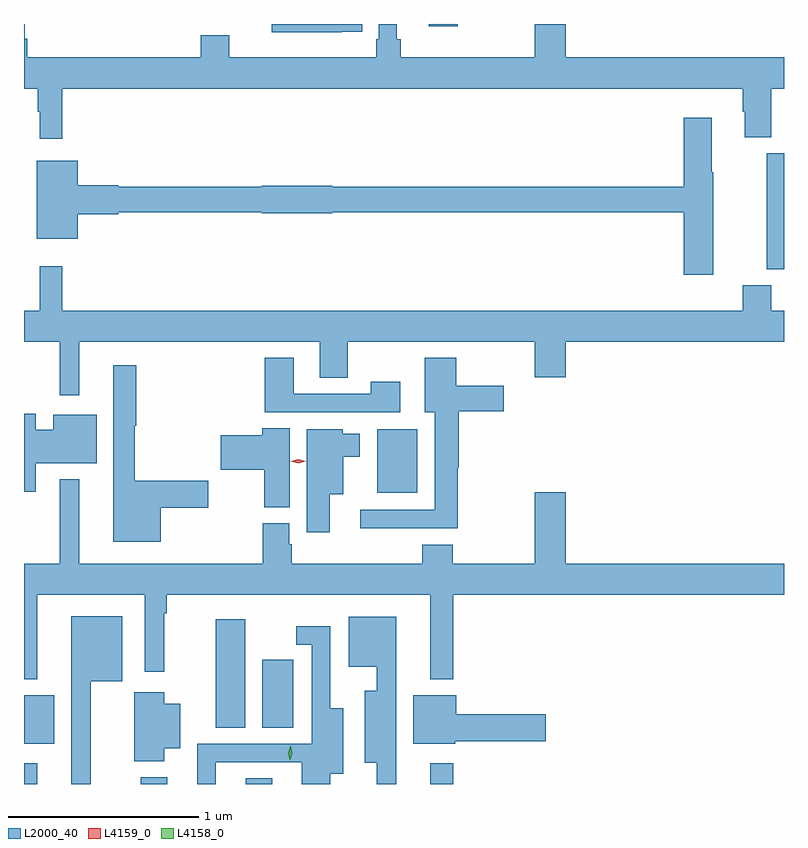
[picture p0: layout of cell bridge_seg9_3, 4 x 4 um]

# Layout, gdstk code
import gdstk
lib = gdstk.Library(unit=1e-6, precision=1e-09)
def R(c, l, rs):  # rectangles x0, y0, x1, y1
    for r in rs: c.add(gdstk.rectangle(r[:2], r[2:], *l))
def P(c, l, *ps):  # polygons
    for p in ps: c.add(gdstk.Polygon(p, *l))
L2000_40 = (2000, 40)
L4158_0 = (4158, 0)
L4159_0 = (4159, 0)

bridge_seg9_3 = lib.new_cell('bridge_seg9_3')
R(bridge_seg9_3, L2000_40, [(1049.433,1232.72,1049.503,1232.83), (1050.047,1232.72,1050.187,1232.755), (1050.599,1232.72,1050.739,1232.75), (1051.571,1232.72,1051.693,1232.83), (1049.433,1232.933,1049.593,1233.187), (1050.443,1233.016,1050.598,1233.586), (1050.686,1233.016,1050.85,1233.373), (1051.292,1234.253,1051.504,1234.588), (1053.342,1235.43,1053.433,1236.039), (1051.562,1236.708,1051.716,1236.72)])
P(bridge_seg9_3, L2000_40, [(1051.106,1236.678),(1051.214,1236.678),(1051.214,1236.72),(1050.738,1236.72),(1050.738,1236.677),(1051.106,1236.677)],
  [(1049.633,1236.38),(1053.215,1236.38),(1053.215,1236.258),(1053.227,1236.258),(1053.227,1236.124),(1053.367,1236.124),(1053.367,1236.38),(1053.433,1236.38),(1053.433,1236.544),(1052.284,1236.544),(1052.284,1236.72),(1052.12,1236.72),(1052.12,1236.544),(1051.415,1236.544),(1051.415,1236.64),(1051.396,1236.64),(1051.396,1236.72),(1051.299,1236.72),(1051.299,1236.64),(1051.286,1236.64),(1051.286,1236.544),(1050.514,1236.544),(1050.514,1236.661),(1050.362,1236.661),(1050.362,1236.544),(1049.45,1236.544),(1049.45,1236.642),(1049.437,1236.642),(1049.437,1236.72),(1049.433,1236.72),(1049.433,1236.38),(1049.505,1236.38),(1049.505,1236.257),(1049.516,1236.257),(1049.516,1236.117),(1049.633,1236.117)],
  [(1053.06,1235.941),(1053.052,1235.941),(1053.052,1236.226),(1052.906,1236.226),(1052.906,1235.864),(1051.056,1235.864),(1051.056,1235.87),(1050.684,1235.87),(1050.684,1235.864),(1049.928,1235.864),(1049.928,1235.872),(1049.716,1235.872),(1049.716,1236.001),(1049.501,1236.001),(1049.501,1235.591),(1049.716,1235.591),(1049.716,1235.72),(1049.928,1235.72),(1049.928,1235.728),(1050.684,1235.728),(1050.684,1235.723),(1051.056,1235.723),(1051.056,1235.728),(1052.906,1235.728),(1052.906,1235.4),(1053.06,1235.4)],
  [(1049.725,1235.048),(1050.989,1235.048),(1050.989,1234.858),(1051.137,1234.858),(1051.137,1235.048),(1052.12,1235.048),(1052.12,1234.86),(1052.284,1234.86),(1052.284,1235.048),(1053.433,1235.048),(1053.433,1235.212),(1053.367,1235.212),(1053.367,1235.345),(1053.215,1235.345),(1053.215,1235.212),(1049.633,1235.212),(1049.633,1235.446),(1049.516,1235.446),(1049.516,1235.212),(1049.433,1235.212),(1049.433,1235.048),(1049.621,1235.048),(1049.621,1234.767),(1049.725,1234.767)],
  [(1051.716,1234.385),(1051.721,1234.385),(1051.721,1234.682),(1051.957,1234.682),(1051.957,1234.816),(1051.708,1234.816),(1051.708,1234.963),(1051.541,1234.963),(1051.541,1234.676),(1051.595,1234.676),(1051.595,1234.164),(1051.203,1234.164),(1051.203,1234.067),(1051.716,1234.067)],
  [(1051.414,1234.837),(1051.258,1234.837),(1051.258,1234.773),(1050.853,1234.773),(1050.853,1234.963),(1050.701,1234.963),(1050.701,1234.677),(1051.414,1234.677)],
  [(1050.154,1234.174),(1050.403,1234.174),(1050.403,1234.316),(1050.017,1234.316),(1050.017,1234.605),(1050.025,1234.605),(1050.025,1234.924),(1049.903,1234.924),(1049.903,1233.995),(1050.154,1233.995)],
  [(1049.494,1234.409),(1049.815,1234.409),(1049.815,1234.663),(1049.588,1234.663),(1049.588,1234.585),(1049.494,1234.585),(1049.494,1234.669),(1049.433,1234.669),(1049.433,1234.259),(1049.494,1234.259)],
  [(1050.832,1234.592),(1050.686,1234.592),(1050.686,1234.556),(1050.468,1234.556),(1050.468,1234.373),(1050.698,1234.373),(1050.698,1234.177),(1050.832,1234.177)],
  [(1051.042,1234.244),(1051.114,1234.244),(1051.114,1234.442),(1051.201,1234.442),(1051.201,1234.564),(1051.11,1234.564),(1051.11,1234.588),(1050.92,1234.588),(1050.92,1234.044),(1051.042,1234.044)],
  [(1049.503,1233.716),(1050.069,1233.716),(1050.069,1233.312),(1050.17,1233.312),(1050.17,1233.62),(1050.185,1233.62),(1050.185,1233.716),(1051.571,1233.716),(1051.571,1233.272),(1051.693,1233.272),(1051.693,1233.716),(1053.433,1233.716),(1053.433,1233.88),(1052.284,1233.88),(1052.284,1234.255),(1052.12,1234.255),(1052.12,1233.88),(1051.689,1233.88),(1051.689,1233.979),(1051.529,1233.979),(1051.529,1233.88),(1050.842,1233.88),(1050.842,1233.981),(1050.829,1233.981),(1050.829,1234.092),(1050.689,1234.092),(1050.689,1233.88),(1049.725,1233.88),(1049.725,1234.324),(1049.621,1234.324),(1049.621,1233.88),(1049.433,1233.88),(1049.433,1233.272),(1049.503,1233.272)],
  [(1049.785,1233.26),(1049.95,1233.26),(1049.95,1233.604),(1049.681,1233.604),(1049.681,1232.72),(1049.785,1232.72)],
  [(1051.393,1233.601),(1051.142,1233.601),(1051.142,1233.338),(1051.289,1233.338),(1051.289,1233.211),(1051.226,1233.211),(1051.226,1232.831),(1051.289,1232.831),(1051.289,1232.72),(1051.393,1232.72)],
  [(1050.442,1232.835),(1050.896,1232.835),(1050.896,1232.72),(1051.045,1232.72),(1051.045,1232.774),(1051.114,1232.774),(1051.114,1233.118),(1051.044,1233.118),(1051.044,1233.55),(1050.867,1233.55),(1050.867,1233.453),(1050.948,1233.453),(1050.948,1232.931),(1050.344,1232.931),(1050.344,1232.72),(1050.442,1232.72)],
  [(1050.172,1232.909),(1050.256,1232.909),(1050.256,1233.142),(1050.172,1233.142),(1050.172,1233.202),(1050.014,1233.202),(1050.014,1232.841),(1050.172,1232.841)],
  [(1051.704,1232.944),(1052.179,1232.944),(1052.179,1233.086),(1051.708,1233.086),(1051.708,1233.187),(1051.481,1233.187),(1051.481,1232.933),(1051.704,1232.933)])
P(bridge_seg9_3, L4158_0, [(1050.832,1232.847),(1050.824,1232.883),(1050.835,1232.918),(1050.835,1232.918),(1050.836,1232.918),(1050.844,1232.882),(1050.833,1232.847),(1050.833,1232.847)])
P(bridge_seg9_3, L4159_0, [(1050.876,1234.409),(1050.838,1234.418),(1050.837,1234.419),(1050.838,1234.419),(1050.876,1234.429),(1050.915,1234.419),(1050.915,1234.419),(1050.915,1234.419)])

lib.write_gds('bridge_seg9_3.gds')
